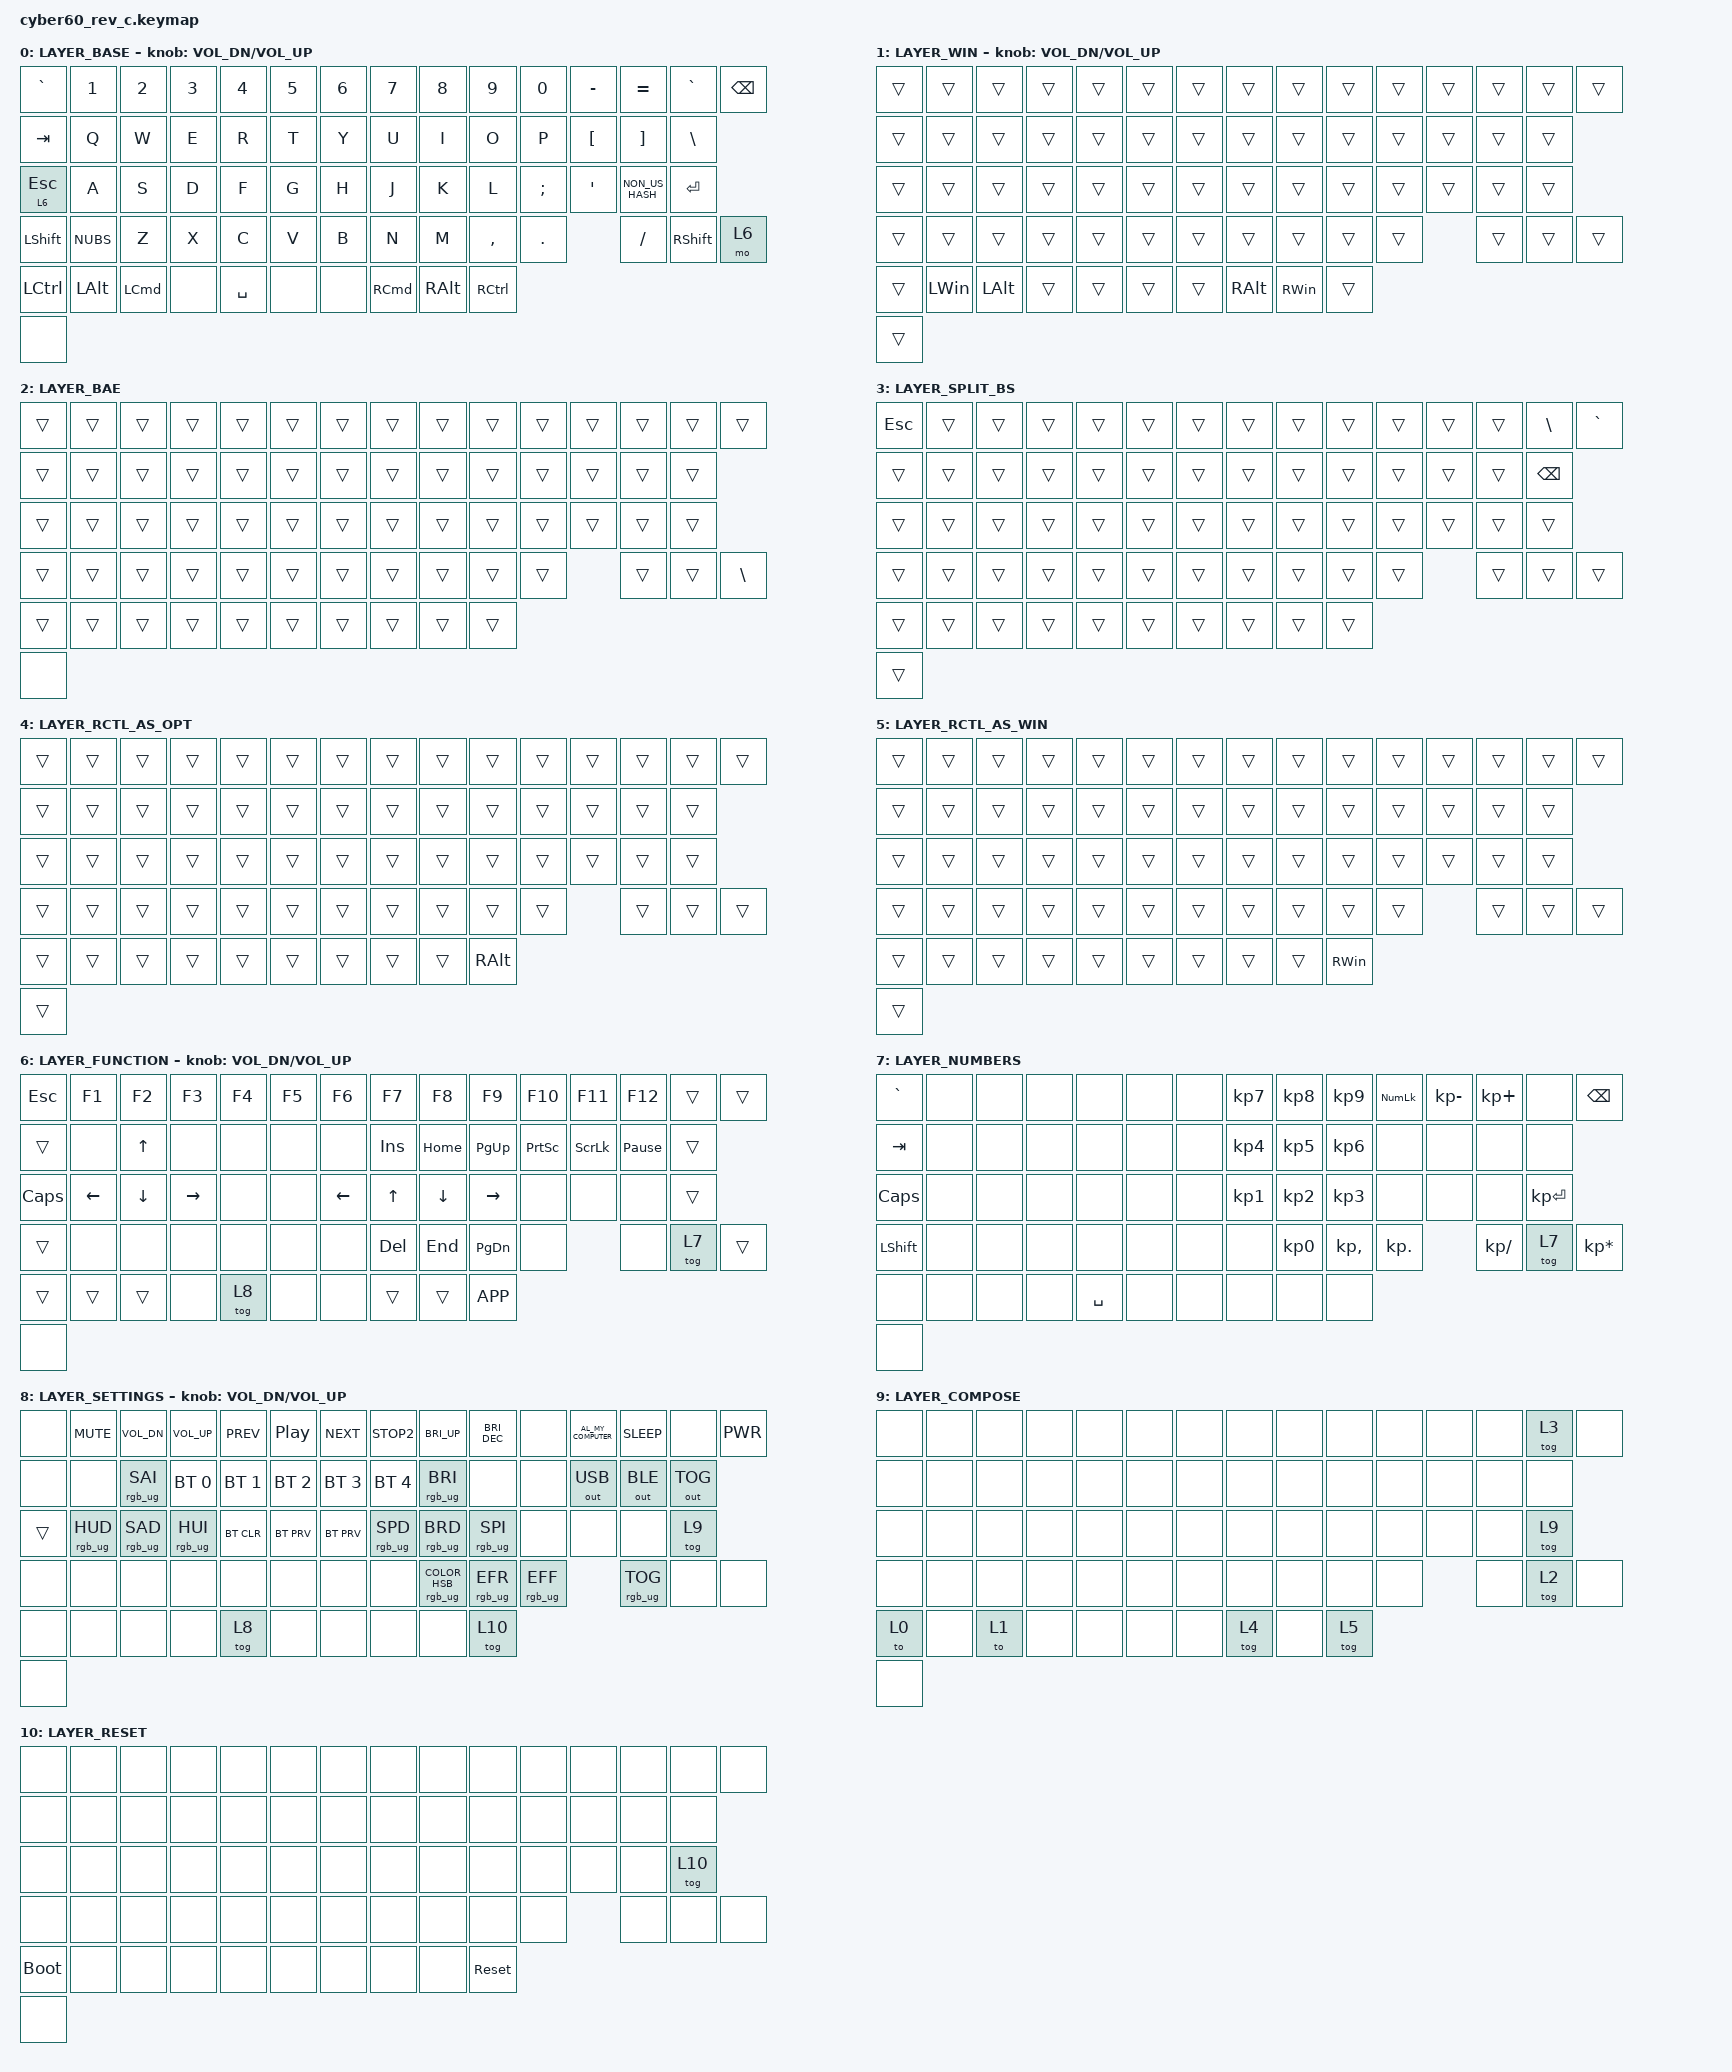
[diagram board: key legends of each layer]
//
//	\file		cyber60.keymap
//	\brief		Keymap file for cyber60 keyboard PCB
//
//	\author		Gemuele Aludino
//	\date		07 Jan 2023
//

#include <behaviors.dtsi>
#include <dt-bindings/zmk/bt.h>
#include <dt-bindings/zmk/keys.h>
#include <dt-bindings/zmk/outputs.h>
#include <dt-bindings/zmk/rgb.h>

/ {
    keymap {
        compatible = "zmk,keymap";

        LAYER_BASE {
            //
            // macOS-centric bottom row
            //

            bindings = <
&kp GRAVE  &kp N1        &kp N2            &kp N3  &kp N4     &kp N5  &kp N6  &kp N7             &kp N8         &kp N9     &kp N0         &kp MINUS         &kp EQUAL        &kp GRAVE  &kp BACKSPACE
&kp TAB    &kp Q         &kp W             &kp E   &kp R      &kp T   &kp Y   &kp U              &kp I          &kp O      &kp P          &kp LBKT          &kp RBKT         &kp BSLH
&lt 6 ESC  &kp A         &kp S             &kp D   &kp F      &kp G   &kp H   &kp J              &kp K          &kp L      &kp SEMICOLON  &kp SINGLE_QUOTE  &kp NON_US_HASH  &kp RET
&kp LSHFT  &kp NUBS      &kp Z             &kp X   &kp C      &kp V   &kp B   &kp N              &kp M          &kp COMMA  &kp DOT                          &kp FSLH         &kp RSHFT  &mo 6
&kp LCTRL  &kp LEFT_ALT  &kp LEFT_COMMAND  &none   &kp SPACE  &none   &none   &kp RIGHT_COMMAND  &kp RIGHT_ALT  &kp RCTRL
&none
            >;

            sensor-bindings = <&inc_dec_kp C_VOL_DN C_VOL_UP>;
        };

        LAYER_WIN {
            //
            // Windows-centric bottom row
            //

            bindings = <
&trans  &trans        &trans    &trans  &trans  &trans  &trans  &trans    &trans         &trans  &trans  &trans  &trans  &trans  &trans
&trans  &trans        &trans    &trans  &trans  &trans  &trans  &trans    &trans         &trans  &trans  &trans  &trans  &trans
&trans  &trans        &trans    &trans  &trans  &trans  &trans  &trans    &trans         &trans  &trans  &trans  &trans  &trans
&trans  &trans        &trans    &trans  &trans  &trans  &trans  &trans    &trans         &trans  &trans          &trans  &trans  &trans
&trans  &kp LEFT_WIN  &kp LALT  &trans  &trans  &trans  &trans  &kp RALT  &kp RIGHT_WIN  &trans
&trans
            >;

            sensor-bindings = <&inc_dec_kp C_VOL_DN C_VOL_UP>;
        };

        LAYER_BAE {
            bindings = <
&trans  &trans  &trans  &trans  &trans  &trans  &trans  &trans  &trans  &trans  &trans  &trans  &trans  &trans  &trans
&trans  &trans  &trans  &trans  &trans  &trans  &trans  &trans  &trans  &trans  &trans  &trans  &trans  &trans
&trans  &trans  &trans  &trans  &trans  &trans  &trans  &trans  &trans  &trans  &trans  &trans  &trans  &trans
&trans  &trans  &trans  &trans  &trans  &trans  &trans  &trans  &trans  &trans  &trans          &trans  &trans  &kp BACKSLASH
&trans  &trans  &trans  &trans  &trans  &trans  &trans  &trans  &trans  &trans
&none
            >;
        };

        LAYER_SPLIT_BS {
            bindings = <
&kp ESC  &trans  &trans  &trans  &trans  &trans  &trans  &trans  &trans  &trans  &trans  &trans  &trans  &kp BACKSLASH  &kp GRAVE
&trans   &trans  &trans  &trans  &trans  &trans  &trans  &trans  &trans  &trans  &trans  &trans  &trans  &kp BACKSPACE
&trans   &trans  &trans  &trans  &trans  &trans  &trans  &trans  &trans  &trans  &trans  &trans  &trans  &trans
&trans   &trans  &trans  &trans  &trans  &trans  &trans  &trans  &trans  &trans  &trans          &trans  &trans         &trans
&trans   &trans  &trans  &trans  &trans  &trans  &trans  &trans  &trans  &trans
&trans
            >;
        };

        LAYER_RCTL_AS_OPT {
            bindings = <
&trans  &trans  &trans  &trans  &trans  &trans  &trans  &trans  &trans  &trans         &trans  &trans  &trans  &trans  &trans
&trans  &trans  &trans  &trans  &trans  &trans  &trans  &trans  &trans  &trans         &trans  &trans  &trans  &trans
&trans  &trans  &trans  &trans  &trans  &trans  &trans  &trans  &trans  &trans         &trans  &trans  &trans  &trans
&trans  &trans  &trans  &trans  &trans  &trans  &trans  &trans  &trans  &trans         &trans          &trans  &trans  &trans
&trans  &trans  &trans  &trans  &trans  &trans  &trans  &trans  &trans  &kp RIGHT_ALT
&trans
            >;
        };

        LAYER_RCTL_AS_WIN {
            bindings = <
&trans  &trans  &trans  &trans  &trans  &trans  &trans  &trans  &trans  &trans         &trans  &trans  &trans  &trans  &trans
&trans  &trans  &trans  &trans  &trans  &trans  &trans  &trans  &trans  &trans         &trans  &trans  &trans  &trans
&trans  &trans  &trans  &trans  &trans  &trans  &trans  &trans  &trans  &trans         &trans  &trans  &trans  &trans
&trans  &trans  &trans  &trans  &trans  &trans  &trans  &trans  &trans  &trans         &trans          &trans  &trans  &trans
&trans  &trans  &trans  &trans  &trans  &trans  &trans  &trans  &trans  &kp RIGHT_WIN
&trans
            >;
        };

        LAYER_FUNCTION {
            //
            // Function keys, navigation cluster
            //

            bindings = <
&kp ESC   &kp F1    &kp F2    &kp F3     &kp F4  &kp F5  &kp F6    &kp F7   &kp F8    &kp F9     &kp F10    &kp F11   &kp F12          &trans  &trans
&trans    &none     &kp UP    &none      &none   &none   &none     &kp INS  &kp HOME  &kp PG_UP  &kp PSCRN  &kp SLCK  &kp PAUSE_BREAK  &trans
&kp CAPS  &kp LEFT  &kp DOWN  &kp RIGHT  &none   &none   &kp LEFT  &kp UP   &kp DOWN  &kp RIGHT  &none      &none     &none            &trans
&trans    &none     &none     &none      &none   &none   &none     &kp DEL  &kp END   &kp PG_DN  &none                &none            &tog 7  &trans
&trans    &trans    &trans    &none      &tog 8  &none   &none     &trans   &trans    &kp K_APP
&none
            >;

            sensor-bindings = <&inc_dec_kp C_VOL_DN C_VOL_UP>;
        };

        LAYER_NUMBERS {
            bindings = <
&kp GRAVE  &none  &none  &none  &none      &none  &none  &kp KP_N7  &kp KP_N8        &kp KP_N9     &kp KP_NUMLOCK  &kp KP_MINUS  &kp KP_PLUS    &none         &kp BACKSPACE
&kp TAB    &none  &none  &none  &none      &none  &none  &kp KP_N4  &kp KP_N5        &kp KP_N6     &none           &none         &none          &none
&kp CAPS   &none  &none  &none  &none      &none  &none  &kp KP_N1  &kp KP_N2        &kp KP_N3     &none           &none         &none          &kp KP_ENTER
&kp LSHFT  &none  &none  &none  &none      &none  &none  &none      &kp KP_NUMBER_0  &kp KP_COMMA  &kp KP_DOT                    &kp KP_DIVIDE  &tog 7        &kp KP_MULTIPLY
&none      &none  &none  &none  &kp SPACE  &none  &none  &none      &none            &none
&none
            >;
        };

        LAYER_SETTINGS {
            //
            // Keyboard configuration (connectivity, lighting, bootloader, reset)
            //

            bindings = <
&none   &kp K_MUTE       &kp C_VOL_DN     &kp C_VOL_UP     &kp C_PREV    &kp C_PP      &kp C_NEXT    &kp K_STOP2      &kp C_BRI_UP                    &kp C_BRI_DEC    &none            &kp C_AL_MY_COMPUTER  &kp K_SLEEP      &none         &kp C_PWR
&none   &none            &rgb_ug RGB_SAI  &bt BT_SEL 0     &bt BT_SEL 1  &bt BT_SEL 2  &bt BT_SEL 3  &bt BT_SEL 4     &rgb_ug RGB_BRI                 &none            &none            &out OUT_USB          &out OUT_BLE     &out OUT_TOG
&trans  &rgb_ug RGB_HUD  &rgb_ug RGB_SAD  &rgb_ug RGB_HUI  &bt BT_CLR    &bt BT_PRV    &bt BT_PRV    &rgb_ug RGB_SPD  &rgb_ug RGB_BRD                 &rgb_ug RGB_SPI  &none            &none                 &none            &tog 9
&none   &none            &none            &none            &none         &none         &none         &none            &rgb_ug RGB_COLOR_HSB(0,0,100)  &rgb_ug RGB_EFR  &rgb_ug RGB_EFF                        &rgb_ug RGB_TOG  &none         &none
&none   &none            &none            &none            &tog 8        &none         &none         &none            &none                           &tog 10
&none
            >;

            sensor-bindings = <&inc_dec_kp C_VOL_DN C_VOL_UP>;
        };

        LAYER_COMPOSE {
            bindings = <
&none  &none  &none  &none  &none  &none  &none  &none   &none  &none   &none  &none  &none  &tog 3  &none
&none  &none  &none  &none  &none  &none  &none  &none   &none  &none   &none  &none  &none  &none
&none  &none  &none  &none  &none  &none  &none  &none   &none  &none   &none  &none  &none  &tog 9
&none  &none  &none  &none  &none  &none  &none  &none   &none  &none   &none         &none  &tog 2  &none
&to 0  &none  &to 1  &none  &none  &none  &none  &tog 4  &none  &tog 5
&none
            >;
        };

        LAYER_RESET {
            bindings = <
&none        &none  &none  &none  &none  &none  &none  &none  &none  &none       &none  &none  &none  &none    &none
&none        &none  &none  &none  &none  &none  &none  &none  &none  &none       &none  &none  &none  &none
&none        &none  &none  &none  &none  &none  &none  &none  &none  &none       &none  &none  &none  &tog 10
&none        &none  &none  &none  &none  &none  &none  &none  &none  &none       &none         &none  &none    &none
&bootloader  &none  &none  &none  &none  &none  &none  &none  &none  &sys_reset
&none
            >;
        };
    };

    conditional_layers {
        compatible = "zmk,conditional-layers";

        WKL_Win {
            if-layers = <5>;
            then-layer = <1>;
        };
    };
};
